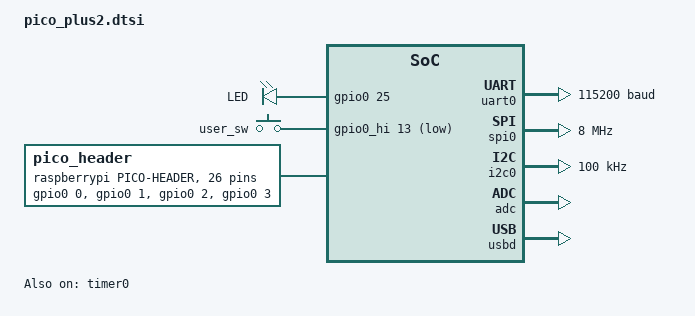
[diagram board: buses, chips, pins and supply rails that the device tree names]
/*
 * Copyright (c) 2024 TOKITA Hiroshi
 *
 * SPDX-License-Identifier: Apache-2.0
 */

#include <freq.h>

#include <zephyr/dt-bindings/i2c/i2c.h>
#include <zephyr/dt-bindings/pwm/pwm.h>
#include <zephyr/dt-bindings/input/input-event-codes.h>

#include "pico_plus2-pinctrl.dtsi"

/ {
	chosen {
		zephyr,sram = &sram0;
		zephyr,flash = &flash0;
		zephyr,console = &uart0;
		zephyr,shell-uart = &uart0;
	};

	aliases {
		watchdog0 = &wdt0;
		led0 = &led0;
		pwm-led0 = &pwm_led0;
		sw0 = &user_sw;
	};

	leds {
		compatible = "gpio-leds";

		led0: led_0 {
			gpios = <&gpio0 25 GPIO_ACTIVE_HIGH>;
			label = "LED";
		};
	};

	pwm_leds {
		compatible = "pwm-leds";
		status = "disabled";

		pwm_led0: pwm_led_0 {
			pwms = <&pwm 9 PWM_MSEC(20) PWM_POLARITY_NORMAL>;
			label = "PWM_LED";
		};
	};

	buttons {
		compatible = "gpio-keys";

		user_sw: user_sw {
			gpios = <&gpio0_hi 13 (GPIO_ACTIVE_LOW)>;
			zephyr,code = <INPUT_KEY_0>;
		};
	};

	pico_header: connector {
		compatible = "raspberrypi,pico-header";
		#gpio-cells = <2>;
		gpio-map-mask = <0xffffffff 0xffffffc0>;
		gpio-map-pass-thru = <0 0x3f>;
		gpio-map = <0 0 &gpio0 0 0>,	/* GP0 */
			<1 0 &gpio0 1 0>,	/* GP1 */
			<2 0 &gpio0 2 0>,	/* GP2 */
			<3 0 &gpio0 3 0>,	/* GP3 */
			<4 0 &gpio0 4 0>,	/* GP4 */
			<5 0 &gpio0 5 0>,	/* GP5 */
			<6 0 &gpio0 6 0>,	/* GP6 */
			<7 0 &gpio0 7 0>,	/* GP7 */
			<8 0 &gpio0 8 0>,	/* GP8 */
			<9 0 &gpio0 9 0>,	/* GP9 */
			<10 0 &gpio0 10 0>,	/* GP10 */
			<11 0 &gpio0 11 0>,	/* GP11 */
			<12 0 &gpio0 12 0>,	/* GP12 */
			<13 0 &gpio0 13 0>,	/* GP13 */
			<14 0 &gpio0 14 0>,	/* GP14 */
			<15 0 &gpio0 15 0>,	/* GP15 */
			<16 0 &gpio0 16 0>,	/* GP16 */
			<17 0 &gpio0 17 0>,	/* GP17 */
			<18 0 &gpio0 18 0>,	/* GP18 */
			<19 0 &gpio0 19 0>,	/* GP19 */
			<20 0 &gpio0 20 0>,	/* GP20 */
			<21 0 &gpio0 21 0>,	/* GP21 */
			<22 0 &gpio0 22 0>,	/* GP22 */
			<26 0 &gpio0 26 0>,	/* GP26 */
			<27 0 &gpio0 27 0>,	/* GP27 */
			<28 0 &gpio0 28 0>;	/* GP28 */
	};
};

&flash0 {
	reg = <0x10000000 DT_SIZE_M(16)>;
};

&uart0 {
	current-speed = <115200>;
	status = "okay";
	pinctrl-0 = <&uart0_default>;
	pinctrl-names = "default";
};

gpio0_lo: &gpio0 {
	status = "okay";
};

&gpio0_hi {
	status = "okay";
};

&spi0 {
	clock-frequency = <DT_FREQ_M(8)>;
	pinctrl-0 = <&spi0_default>;
	pinctrl-names = "default";
	status = "okay";
};

&i2c0 {
	clock-frequency = <I2C_BITRATE_STANDARD>;
	pinctrl-0 = <&i2c0_default>;
	pinctrl-names = "default";
	status = "okay";
};

&adc {
	pinctrl-0 = <&adc_default>;
	pinctrl-names = "default";
	status = "okay";
};

&pwm {
	pinctrl-0 = <&pwm_ch4b_default>;
	pinctrl-names = "default";
	divider-int-0 = <255>;
};

&timer0 {
	status = "okay";
};

zephyr_udc0: &usbd {
	status = "okay";
};


pico_spi: &spi0 {};
pico_i2c0: &i2c0 {};
pico_i2c1: &i2c1 {};
pico_serial: &uart0 {};
zephyr_i2c: &i2c0 {};
